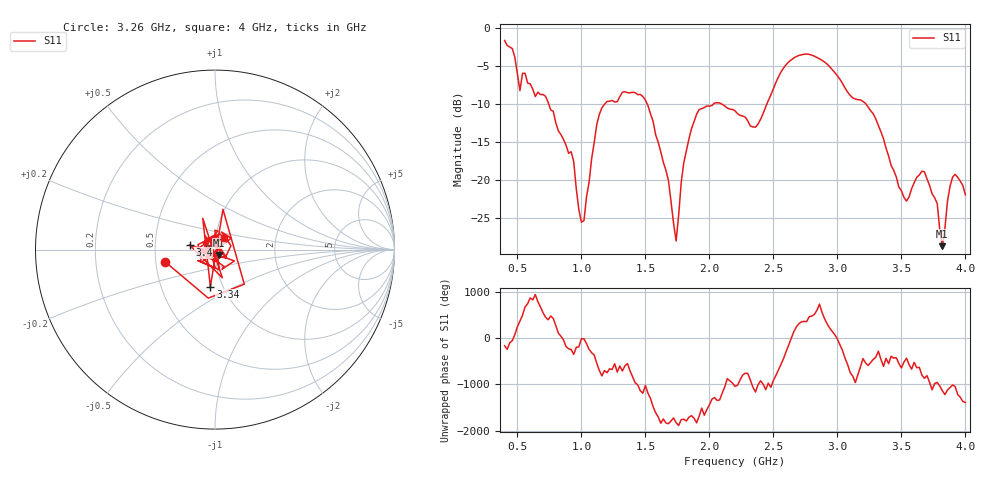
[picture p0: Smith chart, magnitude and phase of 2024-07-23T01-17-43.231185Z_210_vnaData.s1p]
!Created with skrf (http://scikit-rf.org).
# Hz S RI R 50.0
!freq ReS11 ImS11
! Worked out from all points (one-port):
!   181 points, 400 MHz to 4 GHz, reference 50 ohm
!   lowest |S11| = -28.6 dB at 3.82 GHz (marker M1), VSWR 1.08, Z = 52.1 - j3.17 ohm
!   |S11| at or under -10 dB: 744.6 MHz to 1.182 GHz (437.4 MHz wide, 45.4 % of centre); 1.514 GHz to 2.032 GHz (517.3 MHz wide, 29.2 % of centre); 3.223 GHz to end of sweep (the widest 3 of 4)
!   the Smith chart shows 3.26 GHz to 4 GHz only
!   S11 on the Smith chart (normalised r, x): 3.26 GHz: 0.56, -0.08; 3.34 GHz: 0.87, -0.38; 3.4 GHz: 0.75, +0.04; 4 GHz: 1.10, +0.14
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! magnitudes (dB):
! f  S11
! 400 MHz  -1.7
! 520 MHz  -8.2
! 560 MHz  -6.0
! 720 MHz  -9.0
! 860 MHz  -14.6
! 940 MHz  -17.6
! 1.02 GHz  -25.3
! 1.14 GHz  -11.4
! 1.3 GHz  -9.0
! 1.5 GHz  -9.5
! 1.68 GHz  -20.0
! 1.74 GHz  -28.0
! 1.76 GHz  -24.5
! 1.8 GHz  -17.7
! 1.9 GHz  -11.3
! 2.2 GHz  -10.9
! 2.36 GHz  -13.0
! 2.66 GHz  -3.9
! 3.1 GHz  -8.9
! 3.26 GHz  -10.9
! 3.34 GHz  -13.6
! 3.4 GHz  -16.8
! 3.56 GHz  -22.2
! 3.68 GHz  -18.9
! 3.78 GHz  -23.1
! 3.82 GHz  -28.6
! 3.9 GHz  -19.6
! 4 GHz  -21.9
